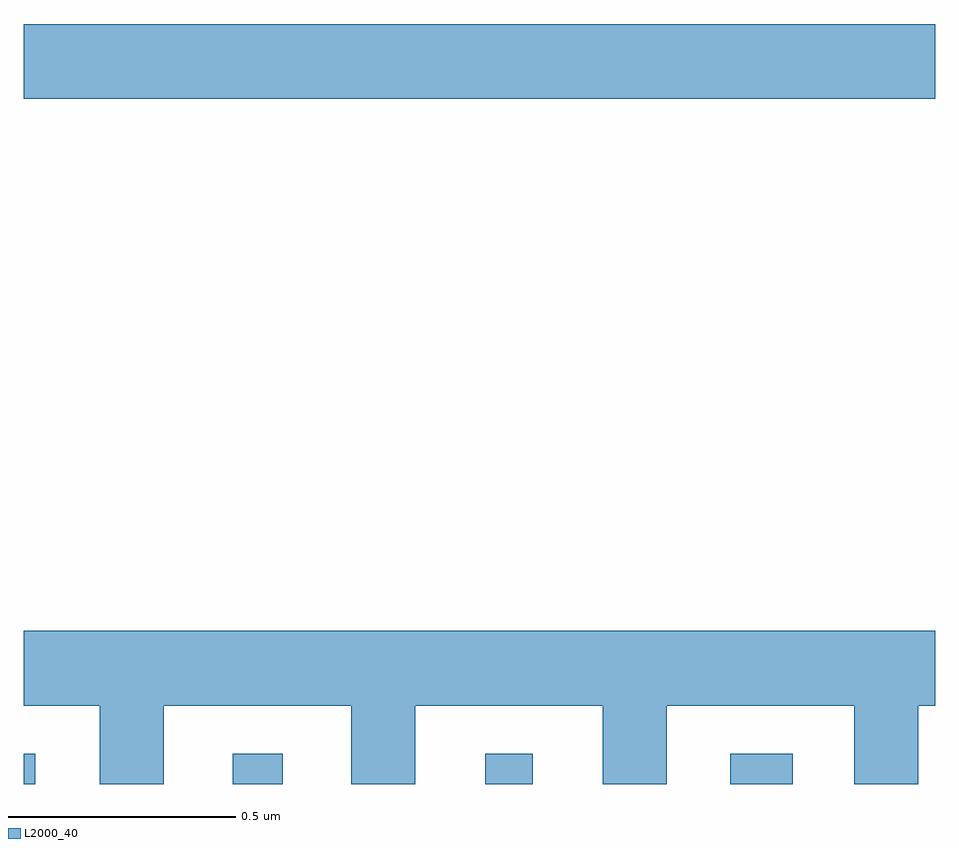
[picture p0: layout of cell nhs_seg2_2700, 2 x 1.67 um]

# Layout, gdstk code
import gdstk
lib = gdstk.Library(unit=1e-6, precision=1e-09)
def R(c, l, rs):  # rectangles x0, y0, x1, y1
    for r in rs: c.add(gdstk.rectangle(r[:2], r[2:], *l))
def P(c, l, *ps):  # polygons
    for p in ps: c.add(gdstk.Polygon(p, *l))
L2000_40 = (2000, 40)

nhs_seg2_2700 = lib.new_cell('nhs_seg2_2700')
R(nhs_seg2_2700, L2000_40, [(144,644.8,144.025,644.866), (144.458,644.8,144.568,644.866), (145.013,644.8,145.117,644.866), (145.55,644.8,145.687,644.866), (144,646.304,146,646.468)])
P(nhs_seg2_2700, L2000_40, [(144.307,644.972),(144.719,644.972),(144.719,644.8),(144.859,644.8),(144.859,644.972),(145.271,644.972),(145.271,644.8),(145.411,644.8),(145.411,644.972),(145.823,644.972),(145.823,644.8),(145.963,644.8),(145.963,644.972),(146,644.972),(146,645.136),(144,645.136),(144,644.972),(144.167,644.972),(144.167,644.8),(144.307,644.8)])

lib.write_gds('nhs_seg2_2700.gds')
